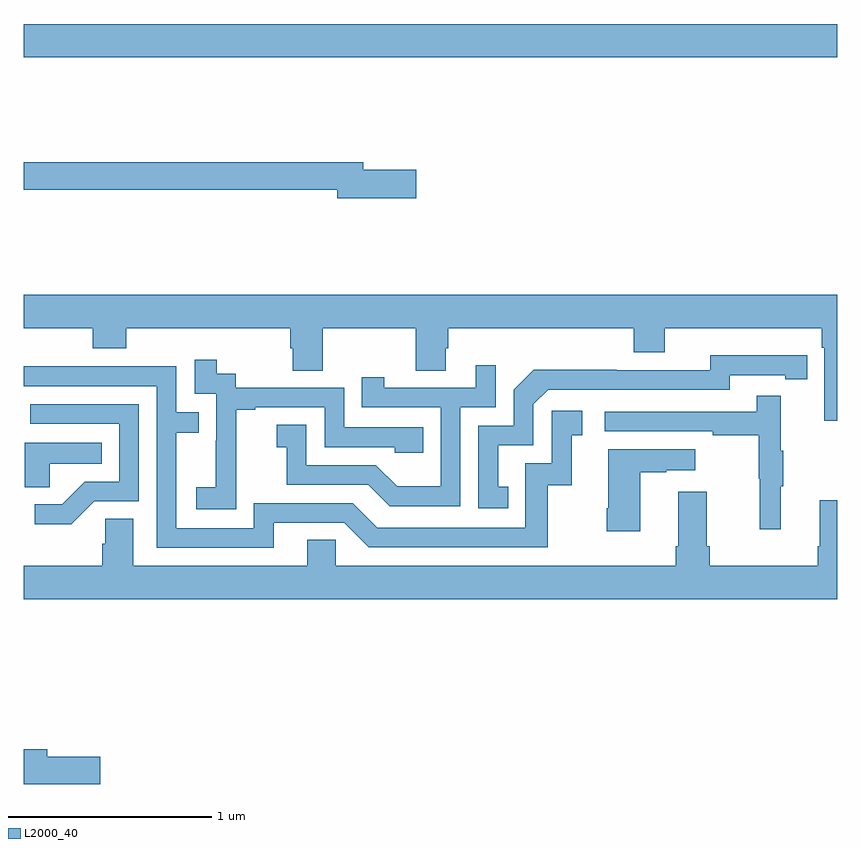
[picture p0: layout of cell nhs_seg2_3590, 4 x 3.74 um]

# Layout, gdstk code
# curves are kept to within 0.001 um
import gdstk
lib = gdstk.Library(unit=1e-6, precision=1e-09)
def R(c, l, rs):  # rectangles x0, y0, x1, y1
    for r in rs: c.add(gdstk.rectangle(r[:2], r[2:], *l))
def P(c, l, *ps):  # polygons
    for p in ps: c.add(gdstk.Polygon(p, *l))
L2000_40 = (2000, 40)

nhs_seg2_3590 = lib.new_cell('nhs_seg2_3590')
R(nhs_seg2_3590, L2000_40, [(299,651.632,303,651.796)])
P(nhs_seg2_3590, L2000_40, [(300.931,651.08),(300.67,651.08),(300.67,651.116),(299,651.116),(299,650.98),(300.542,650.98),(300.542,650.938),(300.931,650.938)],
  [(303,650.464),(299,650.464),(299,650.3),(299.339,650.3),(299.339,650.201),(299.504,650.201),(299.504,650.3),(300.311,650.3),(300.311,650.202),(300.323,650.202),(300.323,650.092),(300.471,650.092),(300.471,650.3),(300.928,650.3),(300.928,650.092),(301.075,650.092),(301.075,650.202),(301.088,650.202),(301.088,650.3),(302,650.3),(302,650.183),(302.152,650.183),(302.152,650.3),(302.924,650.3),(302.924,650.204),(302.937,650.204),(302.937,649.845),(303,649.845)],
  [(301.382,649.521),(301.333,649.521),(301.333,649.725),(301.506,649.725),(301.506,649.926),(301.578,649.998),(302.472,649.998),(302.472,650.07),(302.744,650.07),(302.744,650.05),(302.852,650.05),(302.852,650.166),(302.376,650.167),(302.376,650.094),(301.916,650.094),(301.916,650.096),(301.508,650.096),(301.41,649.998),(301.41,649.821),(301.236,649.821),(301.236,649.416),(301.382,649.416)],
  [(300.045,649.615),(300.044,649.615),(300.044,649.899),(300.139,649.899),(300.139,649.911),(300.48,649.911),(300.48,649.716),(300.825,649.716),(300.825,649.689),(300.965,649.689),(300.965,649.812),(300.576,649.812),(300.576,650.007),(300.042,650.007),(300.042,650.076),(299.95,650.076),(299.95,650.146),(299.841,650.146),(299.841,649.977),(299.946,649.977),(299.946,649.748),(299.945,649.748),(299.945,649.519),(299.847,649.519),(299.847,649.409),(300.045,649.409)],
  [(301.146,649.911),(301.32,649.911),(301.32,650.119),(301.223,650.119),(301.223,650.007),(300.772,650.007),(300.772,650.059),(300.661,650.059),(300.661,649.911),(301.05,649.911),(301.05,649.522),(300.836,649.522),(300.732,649.626),(300.39,649.626),(300.39,649.825),(300.243,649.825),(300.243,649.715),(300.292,649.715),(300.292,649.53),(300.695,649.53),(300.8,649.425),(301.146,649.425)],
  [(300.229,649.344),(300.576,649.344),(300.696,649.224),(301.576,649.224),(301.576,649.527),(301.694,649.527),(301.694,649.773),(301.747,649.773),(301.747,649.894),(301.596,649.894),(301.596,649.635),(301.467,649.635),(301.467,649.32),(300.738,649.32),(300.618,649.44),(300.132,649.44),(300.132,649.317),(299.751,649.317),(299.751,649.786),(299.861,649.786),(299.861,649.887),(299.751,649.887),(299.751,650.112),(299.255,650.112),(299.255,650.114),(299,650.114),(299,650.016),(299.655,650.016),(299.655,649.221),(300.229,649.221)],
  [(302.723,649.523),(302.734,649.523),(302.734,649.697),(302.723,649.697),(302.723,649.969),(302.605,649.969),(302.605,649.89),(301.857,649.89),(301.857,649.794),(302.389,649.794),(302.389,649.774),(302.613,649.774),(302.613,649.56),(302.62,649.56),(302.62,649.311),(302.723,649.311)],
  [(299.346,649.449),(299.565,649.449),(299.565,649.926),(299.031,649.926),(299.031,649.83),(299.469,649.83),(299.469,649.545),(299.3,649.545),(299.189,649.434),(299.055,649.434),(299.055,649.337),(299.233,649.337)],
  [(299.127,649.634),(299.384,649.634),(299.384,649.738),(299.006,649.738),(299.006,649.519),(299.127,649.519)],
  [(302.032,649.591),(302.159,649.591),(302.159,649.601),(302.302,649.601),(302.302,649.705),(301.874,649.705),(301.874,649.414),(301.867,649.414),(301.867,649.302),(302.032,649.302)],
  [(303,649.453),(302.915,649.453),(302.915,649.228),(302.903,649.228),(302.903,649.132),(302.372,649.132),(302.372,649.228),(302.359,649.228),(302.359,649.495),(302.219,649.495),(302.219,649.228),(302.207,649.228),(302.207,649.132),(300.534,649.132),(300.534,649.259),(300.395,649.259),(300.395,649.132),(299.539,649.132),(299.539,649.364),(299.4,649.364),(299.4,649.241),(299.387,649.241),(299.387,649.132),(299,649.132),(299,648.968),(303,648.968)],
  [(299.377,648.194),(299.116,648.194),(299.116,648.23),(299,648.23),(299,648.059),(299.377,648.059)])

lib.write_gds('nhs_seg2_3590.gds')
